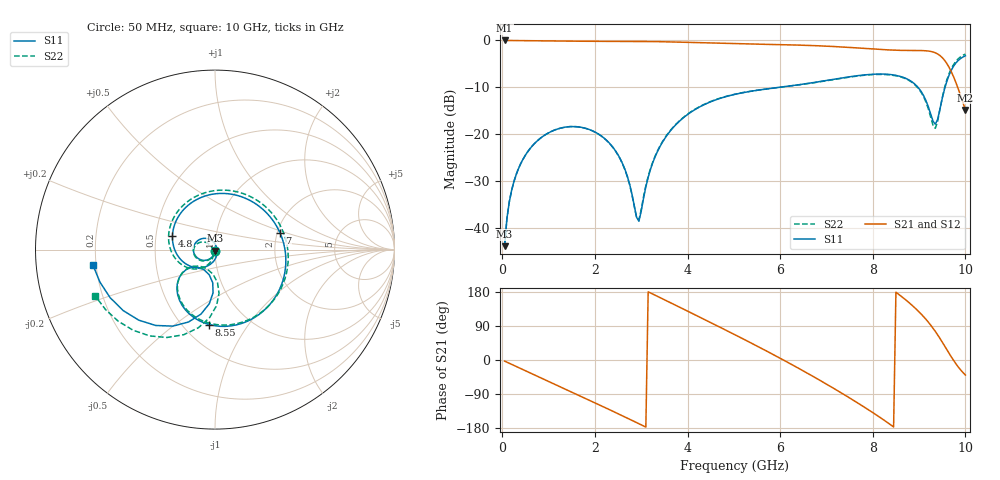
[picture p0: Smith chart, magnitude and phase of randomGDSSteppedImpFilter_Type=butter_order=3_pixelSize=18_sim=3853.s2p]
! freq	dB(S11)	phase(S11)	dB(S12)	phase(S12)
!  dB(S21)	phase(S21)	dB(S22)	phase(S22)
!S-par simulation data
#  GHz  S  DB  R 50
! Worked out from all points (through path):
!   200 points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, 50 MHz to 10 GHz, reference 50 ohm
!   highest |S21| = -0.01 dB at 50 MHz (marker M1); lowest = -14.8 dB at 10 GHz (marker M2)
!   group delay of S21, straight-line fit = 190 ps
!   lowest |S11| = -43.9 dB at 50 MHz (marker M3), VSWR 1.01, Z = 50 - j0.64 ohm
!   |S11| at or under -10 dB: start of sweep to 5.981 GHz; 8.975 GHz to 9.561 GHz (585.5 MHz wide, 6.32 % of centre)
!   |S22| runs from -43.9 to -2.9 dB; largest |S21 - S12| = 0
!   S11 on the Smith chart (normalised r, x): 50 MHz: 1.00, -0.01; 4.8 GHz: 0.61, +0.10; 7 GHz: 2.07, +0.45; 8.55 GHz: 0.66, -0.67; 10 GHz: 0.19, -0.06
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0.05  -43.88 -89.9  -0.01 -2.9  -0.01 -2.9  -43.88 -89.6
0.2  -32.04 -101.3  -0.02 -11.4  -0.02 -11.4  -32.03 -100.4
0.5  -24.46 -119.8  -0.05 -28.4  -0.05 -28.4  -24.45 -117.6
1.75  -18.62 165.3  -0.17 -98.8  -0.17 -98.8  -18.63 175.3
2.5  -24.42 114.6  -0.18 -141.8  -0.18 -141.8  -24.47 140.3
2.95  -38.56 -1.9  -0.21 -168.1  -0.21 -168.1  -38.31 -153.2
3.4  -22.73 -101.1  -0.27 165.1  -0.27 165.1  -22.61 -110.3
4.15  -14.81 -154.5  -0.46 120.0  -0.46 120.0  -14.74 -146.8
4.8  -12.07 161.9  -0.64 80.4  -0.64 80.4  -12.02 177.9
5.05  -11.44 145.0  -0.70 65.0  -0.70 65.0  -11.40 164.0
5.9  -10.10 87.3  -0.88 11.2  -0.88 11.2  -10.11 113.8
6.7  -9.02 34.0  -1.10 -42.6  -1.10 -42.6  -9.06 60.0
7  -8.54 14.4  -1.22 -63.6  -1.22 -63.6  -8.60 37.7
7.65  -7.55 -28.2  -1.59 -111.5  -1.59 -111.5  -7.61 -13.9
8.35  -7.25 -78.5  -2.03 -167.8  -2.03 -167.8  -7.33 -73.6
8.55  -7.56 -94.5  -2.10 174.2  -2.10 174.2  -7.65 -91.8
8.9  -9.25 -125.0  -2.15 138.7  -2.15 138.7  -9.37 -124.9
9.25  -15.69 -142.9  -2.34 92.3  -2.34 92.3  -16.31 -142.8
9.35  -17.88 -119.2  -2.63 75.6  -2.63 75.6  -18.74 -113.7
9.6  -8.68 -102.3  -4.93 27.2  -4.93 27.2  -8.40 -94.5
9.8  -4.75 -137.2  -9.11 -10.8  -9.11 -10.8  -4.39 -127.1
10  -3.28 -172.8  -14.83 -39.6  -14.83 -39.6  -2.91 -158.7
